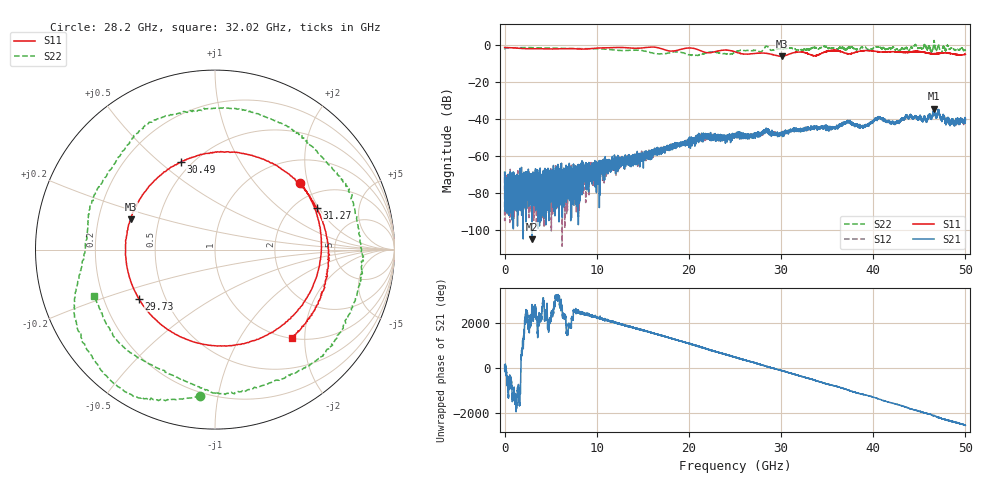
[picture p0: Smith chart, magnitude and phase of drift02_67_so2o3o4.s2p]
!Created with skrf (http://scikit-rf.org).
# Hz S RI R 50.0
!freq ReS11 ImS11 ReS21 ImS21 ReS12 ImS12 ReS22 ImS22
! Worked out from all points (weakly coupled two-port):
!   10001 points, 300 kHz to 50 GHz, reference 50 ohm
!   highest |S21| = -34.38 dB at 46.61 GHz (marker M1); lowest = -105.2 dB at 2.95 GHz (marker M2)
!   lowest |S11| = -6.1 dB at 30.12 GHz (marker M3), VSWR 2.98, Z = 17.2 + j7.72 ohm
!   |S11| at or under -10 dB: nowhere
!   |S22| runs from -5.7 to 2.5 dB; largest |S21 - S12| = 0.0032
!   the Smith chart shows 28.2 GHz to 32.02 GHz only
!   S11 on the Smith chart (normalised r, x): 28.2 GHz: 1.53, +1.80; 29.73 GHz: 0.35, -0.26; 30.49 GHz: 0.44, +0.59; 31.27 GHz: 2.57, +1.93; 32.02 GHz: 1.01, -1.73
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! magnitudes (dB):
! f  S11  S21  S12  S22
! 300 kHz  -1.3  -68.9  -71.8  -2.1
! 265.3 MHz  -1.4  -74.8  -73.8  -1.4
! 2.95 GHz  -2.0  -105.2  -82.6  -1.4
! 6.07 GHz  -2.0  -77.9  -72.6  -1.7
! 8.335 GHz  -2.2  -66.0  -65.5  -1.9
! 16.67 GHz  -1.5  -57.3  -57.5  -4.7
! 21.62 GHz  -3.8  -50.6  -49.2  -4.6
! 25 GHz  -3.7  -49.7  -49.8  -3.9
! 28.2 GHz  -4.4  -45.8  -46.9  -1.7
! 29.73 GHz  -5.9  -48.8  -48.4  -2.1
! 30.12 GHz  -6.1  -47.0  -47.7  -2.0
! 30.49 GHz  -5.6  -47.2  -47.4  -1.7
! 31.27 GHz  -4.3  -45.7  -46.6  -1.9
! 32.02 GHz  -3.7  -46.2  -45.7  -2.8
! 33.34 GHz  -5.5  -44.5  -45.5  -1.6
! 37.27 GHz  -4.7  -41.1  -41.7  -1.5
! 38.88 GHz  -3.0  -43.4  -44.4  -1.4
! 40.61 GHz  -3.6  -39.5  -39.4  -1.1
! 41.67 GHz  -3.7  -41.6  -40.9  -1.9
! 46.61 GHz  -4.7  -34.4  -35.1  2.2
! 48.08 GHz  -4.4  -39.4  -40.0  -0.1
! 50 GHz  -5.0  -40.8  -40.8  -2.7
